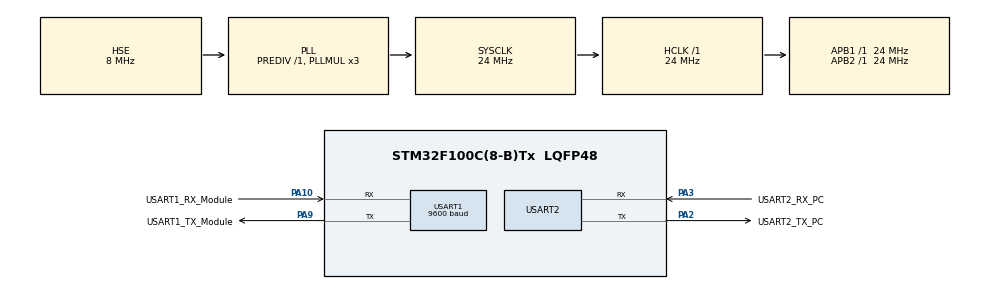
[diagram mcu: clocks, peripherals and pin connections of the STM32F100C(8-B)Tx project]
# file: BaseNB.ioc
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Dma.Request0=USART1_RX
Dma.Request1=USART1_TX
Dma.USART1_RX.0.Direction=DMA_PERIPH_TO_MEMORY
Dma.USART1_RX.0.Instance=DMA1_Channel5
Dma.USART1_RX.0.MemDataAlignment=DMA_MDATAALIGN_HALFWORD
Dma.USART1_RX.0.MemInc=DMA_MINC_ENABLE
Dma.USART1_RX.0.Mode=DMA_CIRCULAR
Dma.USART1_RX.0.PeriphDataAlignment=DMA_PDATAALIGN_HALFWORD
Dma.USART1_RX.0.PeriphInc=DMA_PINC_DISABLE
Dma.USART1_RX.0.Priority=DMA_PRIORITY_LOW
Dma.USART1_TX.1.Direction=DMA_MEMORY_TO_PERIPH
Dma.USART1_TX.1.Instance=DMA1_Channel4
Dma.USART1_TX.1.MemDataAlignment=DMA_MDATAALIGN_BYTE
Dma.USART1_TX.1.MemInc=DMA_MINC_ENABLE
Dma.USART1_TX.1.Mode=DMA_NORMAL
Dma.USART1_TX.1.PeriphDataAlignment=DMA_PDATAALIGN_BYTE
Dma.USART1_TX.1.PeriphInc=DMA_PINC_DISABLE
Dma.USART1_TX.1.Priority=DMA_PRIORITY_LOW
Mcu.Family=STM32F1
Mcu.Name=STM32F100C(8-B)Tx
Mcu.Package=LQFP48
NVIC.DMA1_Channel4_IRQn=true\:1\:0\:true\:true\:true\:4\:false
NVIC.DMA1_Channel5_IRQn=true\:1\:0\:true\:true\:true\:3\:false
NVIC.PriorityGroup=NVIC_PRIORITYGROUP_2
NVIC.USART1_IRQn=true\:0\:0\:false\:true\:true\:1\:true
PA10.GPIO_Label=USART1_RX_Module
PA10.Mode=Asynchronous
PA10.Signal=USART1_RX
PA13.Mode=Serial_Wire
PA13.Signal=SYS_JTMS-SWDIO
PA14.Mode=Serial_Wire
PA14.Signal=SYS_JTCK-SWCLK
PA2.GPIO_Label=USART2_TX_PC
PA2.Mode=Asynchronous
PA2.Signal=USART2_TX
PA3.GPIO_Label=USART2_RX_PC
PA3.Mode=Asynchronous
PA3.Signal=USART2_RX
PA9.GPIO_Label=USART1_TX_Module
PA9.Mode=Asynchronous
PA9.Signal=USART1_TX
PC14-OSC32_IN.Mode=LSE-External-Oscillator
PC14-OSC32_IN.Signal=RCC_OSC32_IN
PC15-OSC32_OUT.Mode=LSE-External-Oscillator
PC15-OSC32_OUT.Signal=RCC_OSC32_OUT
PD0-OSC_IN.Mode=HSE-External-Oscillator
PD0-OSC_IN.Signal=RCC_OSC_IN
PD1-OSC_OUT.Mode=HSE-External-Oscillator
PD1-OSC_OUT.Signal=RCC_OSC_OUT
ProjectManager.HeapSize=0x200
ProjectManager.StackSize=0x400
ProjectManager.TargetToolchain=MDK-ARM V5
RCC.AHBFreq_Value=24000000
RCC.APB1Freq_Value=24000000
RCC.APB1TimFreq_Value=24000000
RCC.APB2Freq_Value=24000000
RCC.APB2TimFreq_Value=24000000
RCC.HCLKFreq_Value=24000000
RCC.PLLMUL=RCC_PLL_MUL3
RCC.PLLSource=RCC_PLLSOURCE_HSE
RCC.SYSCLKFreq_VALUE=24000000
RCC.SYSCLKSource=RCC_SYSCLKSOURCE_PLLCLK
USART1.BaudRate=9600
USART1.VirtualMode=VM_ASYNC
USART2.VirtualMode=VM_ASYNC
board=BaseNB

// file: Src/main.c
/**
  ******************************************************************************
  * @file           : main.c
  * @brief          : Main program body
  ******************************************************************************
  ** This notice applies to any and all portions of this file
  * that are not between comment pairs USER CODE BEGIN and
  * USER CODE END. Other portions of this file, whether
  * inserted by the user or by software development tools
  * are owned by their respective copyright owners.
  *
  * COPYRIGHT(c) 2018 STMicroelectronics
  *
  * Redistribution and use in source and binary forms, with or without modification,
  * are permitted provided that the following conditions are met:
  *   1. Redistributions of source code must retain the above copyright notice,
  *      this list of conditions and the following disclaimer.
  *   2. Redistributions in binary form must reproduce the above copyright notice,
  *      this list of conditions and the following disclaimer in the documentation
  *      and/or other materials provided with the distribution.
  *   3. Neither the name of STMicroelectronics nor the names of its contributors
  *      may be used to endorse or promote products derived from this software
  *      without specific prior written permission.
  *
  * THIS SOFTWARE IS PROVIDED BY THE COPYRIGHT HOLDERS AND CONTRIBUTORS "AS IS"
  * AND ANY EXPRESS OR IMPLIED WARRANTIES, INCLUDING, BUT NOT LIMITED TO, THE
  * IMPLIED WARRANTIES OF MERCHANTABILITY AND FITNESS FOR A PARTICULAR PURPOSE ARE
  * DISCLAIMED. IN NO EVENT SHALL THE COPYRIGHT HOLDER OR CONTRIBUTORS BE LIABLE
  * FOR ANY DIRECT, INDIRECT, INCIDENTAL, SPECIAL, EXEMPLARY, OR CONSEQUENTIAL
  * DAMAGES (INCLUDING, BUT NOT LIMITED TO, PROCUREMENT OF SUBSTITUTE GOODS OR
  * SERVICES; LOSS OF USE, DATA, OR PROFITS; OR BUSINESS INTERRUPTION) HOWEVER
  * CAUSED AND ON ANY THEORY OF LIABILITY, WHETHER IN CONTRACT, STRICT LIABILITY,
  * OR TORT (INCLUDING NEGLIGENCE OR OTHERWISE) ARISING IN ANY WAY OUT OF THE USE
  * OF THIS SOFTWARE, EVEN IF ADVISED OF THE POSSIBILITY OF SUCH DAMAGE.
  *
  ******************************************************************************
  */
#include "main.h"
#include "stm32f1xx_hal.h"
#include "dma.h"
#include "usart.h"
#include "gpio.h"

/* USER CODE BEGIN Includes */
#include "NBBC95.h"
#include "NBBC95_cfg.h"
#include "uartTimerPoll.h"
/* USER CODE END Includes */

/* USER CODE BEGIN PV */
/* Private variables ---------------------------------------------------------*/

typedef enum {
    NB_NONE,
    NB_Init,
    NB_Module,
    NB_SIGN,
    NB_UDP_Create,
    NB_UDP_Send,
    NB_UDP_Read,
    NB_UDP_Close,
    NB_Coap_Server,
    NB_Coap_Send,
    NB_Coap_Read,
    NB_Reset,
    NB_END
}NB_State;

volatile NB_State nb_state = NB_NONE;
int NB_MsgreportCallback(msg_type, int, char*);

/* USER CODE END PV */

void SystemClock_Config(void);
static void MX_NVIC_Init(void);

/* USER CODE BEGIN PFP */
/* Private function prototypes -----------------------------------------------*/

/* USER CODE END PFP */

int main(void)
{

  /* MCU Configuration----------------------------------------------------------*/

  /* Reset of all peripherals, Initializes the Flash interface and the Systick. */
  HAL_Init();

  /* Configure the system clock */
  SystemClock_Config();

  /* Initialize all configured peripherals */
  MX_GPIO_Init();
  MX_DMA_Init();
  MX_USART1_UART_Init();
  MX_USART2_UART_Init();

  /* Initialize interrupts */
  MX_NVIC_Init();
  /* USER CODE BEGIN 2 */
    openNBModule(&bc95_cfg);
    nb_state = NB_Init;
  /* USER CODE END 2 */

  /* Infinite loop */
  /* USER CODE BEGIN WHILE */
    printf("\n\r UART Printf Example to the UART\n\r");

    while (1)
    {

  /* USER CODE END WHILE */

  /* USER CODE BEGIN 3 */
        //printf("\n\r test\n\r");
        HAL_USART_Poll();
        bc95Main(&bc95_cfg);
        TimerPoll();
        //添加键盘事件
        switch(nb_state) {
            case NB_NONE:
                break;
            case NB_Init: {
                printf("\r\n BC95 Module is initializing...");
                initNBModule(&bc95_cfg);
                nb_state = NB_END;
                break;
            }
            case NB_SIGN: {
                printf("\r\n BC95 Module sign state:");
                SignNBModule(&bc95_cfg);
                nb_state = NB_END;
                break;
            }
            case NB_UDP_Create: {
                printf("\r\n BC95 Module is initializing...");
                initNBModule(&bc95_cfg);
                nb_state = NB_END;
                break;
            }
            case NB_UDP_Send: {
                printf("\r\n BC95 Module is initializing...");
                initNBModule(&bc95_cfg);
                nb_state = NB_END;
                break;
            }
            case NB_UDP_Read: {
                printf("\r\n BC95 Module is initializing...");
                initbc95(&bc95_cfg);
                nb_state = NB_END;
                break;
            }
            case NB_UDP_Close: {
                printf("\r\n BC95 Module is initializing...");
                initbc95(&bc95_cfg);
                nb_state = NB_END;
                break;
            }
            case NB_Coap_Server: {
                printf("\r\n BC95 Module is initializing...");
                initbc95(&bc95_cfg);
                nb_state = NB_END;
                break;
            }
            case NB_Coap_Read: {
                printf("\r\n BC95 Module is initializing...");
                initbc95(&bc95_cfg);
                nb_state = NB_END;
                break;
            }
            case NB_Coap_Send: {
                printf("\r\n BC95 Module is initializing...");
                initbc95(&bc95_cfg);
                nb_state = NB_END;
                break;
            }
            case NB_Module: {
                printf("\r\n BC95 Module is initializing...");
                initbc95(&bc95_cfg);
                nb_state = NB_END;
                break;
            }
            case NB_Reset: {
                printf("\r\n BC95 Module is initializing...");
                initNBModule(&bc95_cfg);
                nb_state = NB_END;
                break;
            }
            default:
                break;
        }
    }
  /* USER CODE END 3 */

}

void SystemClock_Config(void)
{

  RCC_OscInitTypeDef RCC_OscInitStruct;
  RCC_ClkInitTypeDef RCC_ClkInitStruct;

    /**Initializes the CPU, AHB and APB busses clocks
    */
  RCC_OscInitStruct.OscillatorType = RCC_OSCILLATORTYPE_HSE;
  RCC_OscInitStruct.HSEState = RCC_HSE_ON;
  RCC_OscInitStruct.HSEPredivValue = RCC_HSE_PREDIV_DIV1;
  RCC_OscInitStruct.PLL.PLLState = RCC_PLL_ON;
  RCC_OscInitStruct.PLL.PLLSource = RCC_PLLSOURCE_HSE;
  RCC_OscInitStruct.PLL.PLLMUL = RCC_PLL_MUL3;
  if (HAL_RCC_OscConfig(&RCC_OscInitStruct) != HAL_OK)
  {
    _Error_Handler(__FILE__, __LINE__);
  }

    /**Initializes the CPU, AHB and APB busses clocks
    */
  RCC_ClkInitStruct.ClockType = RCC_CLOCKTYPE_HCLK|RCC_CLOCKTYPE_SYSCLK
                              |RCC_CLOCKTYPE_PCLK1|RCC_CLOCKTYPE_PCLK2;
  RCC_ClkInitStruct.SYSCLKSource = RCC_SYSCLKSOURCE_PLLCLK;
  RCC_ClkInitStruct.AHBCLKDivider = RCC_SYSCLK_DIV1;
  RCC_ClkInitStruct.APB1CLKDivider = RCC_HCLK_DIV1;
  RCC_ClkInitStruct.APB2CLKDivider = RCC_HCLK_DIV1;

  if (HAL_RCC_ClockConfig(&RCC_ClkInitStruct, FLASH_LATENCY_0) != HAL_OK)
  {
    _Error_Handler(__FILE__, __LINE__);
  }

    /**Configure the Systick interrupt time
    */
  HAL_SYSTICK_Config(HAL_RCC_GetHCLKFreq()/1000);

    /**Configure the Systick
    */
  HAL_SYSTICK_CLKSourceConfig(SYSTICK_CLKSOURCE_HCLK);

  /* SysTick_IRQn interrupt configuration */
  HAL_NVIC_SetPriority(SysTick_IRQn, 0, 0);
}

/**
  * @brief NVIC Configuration.
  * @retval None
  */
static void MX_NVIC_Init(void)
{
  /* USART1_IRQn interrupt configuration */
  HAL_NVIC_SetPriority(USART1_IRQn, 0, 0);
  HAL_NVIC_EnableIRQ(USART1_IRQn);
  /* DMA1_Channel5_IRQn interrupt configuration */
  HAL_NVIC_SetPriority(DMA1_Channel5_IRQn, 1, 0);
  HAL_NVIC_EnableIRQ(DMA1_Channel5_IRQn);
  /* DMA1_Channel4_IRQn interrupt configuration */
  HAL_NVIC_SetPriority(DMA1_Channel4_IRQn, 1, 0);
  HAL_NVIC_EnableIRQ(DMA1_Channel4_IRQn);
}

/* USER CODE BEGIN 4 */
int NB_MsgreportCallback(msg_type mType, int len, char* msg)
{
    //printf("\r\nmsg:%s", msg);
    switch(mType) {
        case MSG_INIT:
            printf("\r\nINIT:%s", msg);
            if (*msg == 'S')
                nb_state = NB_SIGN;
            break;
        case MSG_IMSI:

            break;
        case MSG_IMEI:
        case MSG_SIGN:
        case MSG_DEVID:
        case MSG_MANUINFO:
        case MSG_REGISTER:
        case MSG_UDP_CREATE:
        case MSG_UDP_SEND:
        case MSG_UDP_RECE:
        case MSG_UDP_CLOSE:
        case MSG_COAP:
            break;
        default: break;
    }
    return 0;
}
/* USER CODE END 4 */

void _Error_Handler(char *file, int line)
{
  while(1)
  {
  }
}

/************************ (C) COPYRIGHT STMicroelectronics *****END OF FILE****/
